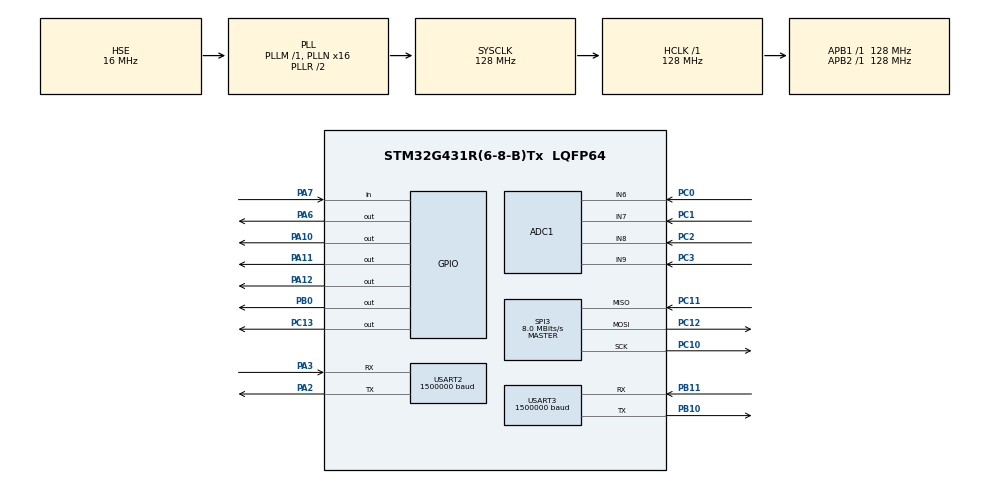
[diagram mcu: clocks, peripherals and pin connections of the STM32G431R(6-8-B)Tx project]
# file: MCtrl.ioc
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ADC1.Channel-1\#ChannelRegularConversion=ADC_CHANNEL_6
ADC1.ClockPrescaler=ADC_CLOCK_ASYNC_DIV8
ADC1.NbrOfConversionFlag=1
ADC1.OffsetNumber-1\#ChannelRegularConversion=ADC_OFFSET_NONE
ADC1.Rank-1\#ChannelRegularConversion=1
ADC1.SamplingTime-1\#ChannelRegularConversion=ADC_SAMPLETIME_2CYCLES_5
ADC1.master=1
FREERTOS.Tasks01=defaultTask,24,128,StartDefaultTask,Default,NULL,Dynamic,NULL,NULL;AdcValueGetTask,32,256,AdcValueGet,Default,NULL,Dynamic,NULL,NULL;dataTrans,16,128,dataTransTask,Default,NULL,Dynamic,NULL,NULL
FREERTOS.configENABLE_FPU=1
FREERTOS.configTOTAL_HEAP_SIZE=10240
FREERTOS.configUSE_NEWLIB_REENTRANT=1
Mcu.Family=STM32G4
Mcu.Name=STM32G431R(6-8-B)Tx
Mcu.Package=LQFP64
NVIC.PriorityGroup=NVIC_PRIORITYGROUP_4
NVIC.TIM1_UP_TIM16_IRQn=true\:15\:0\:false\:false\:true\:false\:false\:true\:true
NVIC.TimeBase=TIM1_UP_TIM16_IRQn
NVIC.TimeBaseIP=TIM1
PA10.Signal=GPIO_Output
PA11.Signal=GPIO_Output
PA12.Signal=GPIO_Output
PA13.Mode=Serial_Wire
PA13.Signal=SYS_JTMS-SWDIO
PA14.Mode=Serial_Wire
PA14.Signal=SYS_JTCK-SWCLK
PA2.Mode=Asynchronous
PA2.Signal=USART2_TX
PA3.Mode=Asynchronous
PA3.Signal=USART2_RX
PA6.Signal=GPIO_Output
PA7.Signal=GPIO_Input
PB0.Signal=GPIO_Output
PB10.Mode=Asynchronous
PB10.Signal=USART3_TX
PB11.Mode=Asynchronous
PB11.Signal=USART3_RX
PC0.Mode=IN6-Single-Ended
PC0.Signal=ADC1_IN6
PC1.Mode=IN7-Single-Ended
PC1.Signal=ADC1_IN7
PC10.Mode=Full_Duplex_Master
PC10.Signal=SPI3_SCK
PC11.Mode=Full_Duplex_Master
PC11.Signal=SPI3_MISO
PC12.Mode=Full_Duplex_Master
PC12.Signal=SPI3_MOSI
PC13.Signal=GPIO_Output
PC2.Mode=IN8-Single-Ended
PC2.Signal=ADC1_IN8
PC3.Mode=IN9-Single-Ended
PC3.Signal=ADC1_IN9
PF0-OSC_IN.Mode=HSE-External-Oscillator
PF0-OSC_IN.Signal=RCC_OSC_IN
PF1-OSC_OUT.Mode=HSE-External-Oscillator
PF1-OSC_OUT.Signal=RCC_OSC_OUT
ProjectManager.HeapSize=0x200
ProjectManager.StackSize=0x400
ProjectManager.TargetToolchain=STM32CubeIDE
RCC.ADC12Freq_Value=128000000
RCC.AHBFreq_Value=128000000
RCC.APB1Freq_Value=128000000
RCC.APB1TimFreq_Value=128000000
RCC.APB2Freq_Value=128000000
RCC.APB2TimFreq_Value=128000000
RCC.CortexFreq_Value=128000000
RCC.EXTERNAL_CLOCK_VALUE=12288000
RCC.HCLKFreq_Value=128000000
RCC.HSE_VALUE=16000000
RCC.HSI48_VALUE=48000000
RCC.HSI_VALUE=16000000
RCC.LSE_VALUE=32768
RCC.PLLN=16
RCC.PLLSourceVirtual=RCC_PLLSOURCE_HSE
RCC.SYSCLKFreq_VALUE=128000000
RCC.SYSCLKSource=RCC_SYSCLKSOURCE_PLLCLK
RCC.USBFreq_Value=128000000
RCC.VCOOutputFreq_Value=256000000
SPI3.BaudRatePrescaler=SPI_BAUDRATEPRESCALER_16
SPI3.CalculateBaudRate=8.0 MBits/s
SPI3.Direction=SPI_DIRECTION_2LINES
SPI3.Mode=SPI_MODE_MASTER
SPI3.VirtualType=VM_MASTER
USART2.BaudRate=1500000
USART2.VirtualMode-Asynchronous=VM_ASYNC
USART3.BaudRate=1500000
USART3.VirtualMode-Asynchronous=VM_ASYNC
VP_FREERTOS_VS_CMSIS_V2.Mode=CMSIS_V2
VP_SYS_VS_DBSignals.Mode=DisableDeadBatterySignals
VP_SYS_VS_tim1.Mode=TIM1
board=custom

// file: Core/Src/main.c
/* USER CODE BEGIN Header */
/**
  ******************************************************************************
  * @file           : main.c
  * @brief          : Main program body
  ******************************************************************************
  * @attention
  *
  * Copyright (c) 2025 STMicroelectronics.
  * All rights reserved.
  *
  * This software is licensed under terms that can be found in the LICENSE file
  * in the root directory of this software component.
  * If no LICENSE file comes with this software, it is provided AS-IS.
  *
  ******************************************************************************
  */
/* USER CODE END Header */
#include "main.h"
#include "cmsis_os.h"
#include "adc.h"
#include "spi.h"
#include "usart.h"
#include "gpio.h"

/* USER CODE BEGIN Includes */
#include "stdio.h"
#include "my1280app.h"
/* USER CODE END Includes */

/* USER CODE BEGIN PM */
int __io_putchar(int ch) {
    HAL_UART_Transmit(&huart2, (uint8_t*)&ch, 1, HAL_MAX_DELAY);
    return ch;
}

/* USER CODE END PM */

/* USER CODE BEGIN PV */
uint16_t adc_values[4];
/* USER CODE END PV */

void SystemClock_Config(void);
void MX_FREERTOS_Init(void);

int main(void)
{

  /* MCU Configuration--------------------------------------------------------*/

  /* Reset of all peripherals, Initializes the Flash interface and the Systick. */
  HAL_Init();

  /* Configure the system clock */
  SystemClock_Config();

  /* Initialize all configured peripherals */
  MX_GPIO_Init();
  MX_ADC1_Init();
  MX_USART2_UART_Init();
  MX_SPI3_Init();
  MX_USART3_UART_Init();
  /* USER CODE BEGIN 2 */
    printf("Mfly@2025 Author: LSC\r\n");
    printf("osKernelStart\r\n");
    printf("lora init begin\r\n");
    LoRa_init();
    printf("lora init success\r\n");
  /* USER CODE END 2 */

  /* Init scheduler */
  osKernelInitialize();  /* Call init function for freertos objects (in freertos.c) */
  MX_FREERTOS_Init();

  /* Start scheduler */
  osKernelStart();
  /* We should never get here as control is now taken by the scheduler */
  /* Infinite loop */
  /* USER CODE BEGIN WHILE */
  printf("Error! code enter wrong branch!\r\n");
  while (1)
  {
    /* USER CODE END WHILE */

  }
}

void SystemClock_Config(void)
{
  RCC_OscInitTypeDef RCC_OscInitStruct = {0};
  RCC_ClkInitTypeDef RCC_ClkInitStruct = {0};

  /** Configure the main internal regulator output voltage
  */
  HAL_PWREx_ControlVoltageScaling(PWR_REGULATOR_VOLTAGE_SCALE1);

  /** Initializes the RCC Oscillators according to the specified parameters
  * in the RCC_OscInitTypeDef structure.
  */
  RCC_OscInitStruct.OscillatorType = RCC_OSCILLATORTYPE_HSE;
  RCC_OscInitStruct.HSEState = RCC_HSE_ON;
  RCC_OscInitStruct.PLL.PLLState = RCC_PLL_ON;
  RCC_OscInitStruct.PLL.PLLSource = RCC_PLLSOURCE_HSE;
  RCC_OscInitStruct.PLL.PLLM = RCC_PLLM_DIV1;
  RCC_OscInitStruct.PLL.PLLN = 16;
  RCC_OscInitStruct.PLL.PLLP = RCC_PLLP_DIV2;
  RCC_OscInitStruct.PLL.PLLQ = RCC_PLLQ_DIV2;
  RCC_OscInitStruct.PLL.PLLR = RCC_PLLR_DIV2;
  if (HAL_RCC_OscConfig(&RCC_OscInitStruct) != HAL_OK)
  {
    Error_Handler();
  }

  /** Initializes the CPU, AHB and APB buses clocks
  */
  RCC_ClkInitStruct.ClockType = RCC_CLOCKTYPE_HCLK|RCC_CLOCKTYPE_SYSCLK
                              |RCC_CLOCKTYPE_PCLK1|RCC_CLOCKTYPE_PCLK2;
  RCC_ClkInitStruct.SYSCLKSource = RCC_SYSCLKSOURCE_PLLCLK;
  RCC_ClkInitStruct.AHBCLKDivider = RCC_SYSCLK_DIV1;
  RCC_ClkInitStruct.APB1CLKDivider = RCC_HCLK_DIV1;
  RCC_ClkInitStruct.APB2CLKDivider = RCC_HCLK_DIV1;

  if (HAL_RCC_ClockConfig(&RCC_ClkInitStruct, FLASH_LATENCY_4) != HAL_OK)
  {
    Error_Handler();
  }
}

void HAL_TIM_PeriodElapsedCallback(TIM_HandleTypeDef *htim)
{
  if (htim->Instance == TIM1) {
    HAL_IncTick();
  }
}

void Error_Handler(void)
{
  __disable_irq();
  while (1)
  {
  }
}

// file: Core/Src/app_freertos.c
/* USER CODE BEGIN Header */
/**
  ******************************************************************************
  * File Name          : app_freertos.c
  * Description        : Code for freertos applications
  ******************************************************************************
  * @attention
  *
  * Copyright (c) 2025 STMicroelectronics.
  * All rights reserved.
  *
  * This software is licensed under terms that can be found in the LICENSE file
  * in the root directory of this software component.
  * If no LICENSE file comes with this software, it is provided AS-IS.
  *
  ******************************************************************************
  */
/* USER CODE END Header */

#include "FreeRTOS.h"
#include "task.h"
#include "main.h"
#include "cmsis_os.h"

/* USER CODE BEGIN Includes */
#include "stdio.h"
/* USER CODE END Includes */

/* USER CODE BEGIN PTD */
extern ADC_HandleTypeDef hadc1;
extern UART_HandleTypeDef huart2;
extern UART_HandleTypeDef huart3;
float ctrl[4];
/* USER CODE END PTD */

/* Definitions for defaultTask */
osThreadId_t defaultTaskHandle;
const osThreadAttr_t defaultTask_attributes = {
  .name = "defaultTask",
  .priority = (osPriority_t) osPriorityNormal,
  .stack_size = 128 * 4
};
/* Definitions for AdcValueGetTask */
osThreadId_t AdcValueGetTaskHandle;
const osThreadAttr_t AdcValueGetTask_attributes = {
  .name = "AdcValueGetTask",
  .priority = (osPriority_t) osPriorityAboveNormal,
  .stack_size = 256 * 4
};
/* Definitions for dataTrans */
osThreadId_t dataTransHandle;
const osThreadAttr_t dataTrans_attributes = {
  .name = "dataTrans",
  .priority = (osPriority_t) osPriorityBelowNormal,
  .stack_size = 128 * 4
};

/* USER CODE BEGIN FunctionPrototypes */
uint16_t Read_ADC_Channel(uint32_t channel);
/* USER CODE END FunctionPrototypes */

void StartDefaultTask(void *argument);
void AdcValueGet(void *argument);
void dataTransTask(void *argument);

void MX_FREERTOS_Init(void); /* (MISRA C 2004 rule 8.1) */

void MX_FREERTOS_Init(void) {

  /* Create the thread(s) */
  /* creation of defaultTask */
  defaultTaskHandle = osThreadNew(StartDefaultTask, NULL, &defaultTask_attributes);

  /* creation of AdcValueGetTask */
  AdcValueGetTaskHandle = osThreadNew(AdcValueGet, NULL, &AdcValueGetTask_attributes);

  /* creation of dataTrans */
  dataTransHandle = osThreadNew(dataTransTask, NULL, &dataTrans_attributes);

}

void StartDefaultTask(void *argument)
{
  /* USER CODE BEGIN StartDefaultTask */
  /* Infinite loop */
  static uint8_t shine_led_state = 0;
  for(;;)
  {
      HAL_GPIO_WritePin(GPIOC, GPIO_PIN_13, shine_led_state);
      shine_led_state ^= 1;
      printf("enter default task\r\n");
      osDelay(1000);
  }
  /* USER CODE END StartDefaultTask */
}

void AdcValueGet(void *argument)
{
  /* USER CODE BEGIN AdcValueGet */
  /* Infinite loop */
    uint16_t adc_values[4];
    printf("enter getAdcValueTask\r\n");
    HAL_ADCEx_Calibration_Start(&hadc1, ADC_SINGLE_ENDED);
    for(;;)
    {
        adc_values[0] = Read_ADC_Channel(ADC_CHANNEL_6);  // IN6
        adc_values[1] = Read_ADC_Channel(ADC_CHANNEL_7);  // IN7
        adc_values[2] = Read_ADC_Channel(ADC_CHANNEL_8);  // IN8
        adc_values[3] = Read_ADC_Channel(ADC_CHANNEL_9);  // IN9

        ctrl[0] = (adc_values[0] - 1000) / (2700.0 - 1000.0) * 100.0;
        ctrl[1] = (adc_values[1] - 350)  / (3900.0 - 350.0)  * 100.0;
        ctrl[2] = (3800 - adc_values[2]) / (3800.0 - 280.0)  * 100.0;
        ctrl[3] = (3800 - adc_values[3]) / (3800.0 - 200.0)  * 100.0;

        printf("channel1: %.2f, channel2: %.2f, channel3: %.2f, channel4: %.2f\r\n",
               ctrl[0], ctrl[1], ctrl[2], ctrl[3]);
        osDelay(10);
    }
  /* USER CODE END AdcValueGet */
}

void dataTransTask(void *argument)
{
  /* USER CODE BEGIN dataTransTask */
  /* Infinite loop */
  for(;;)
  {
      HAL_UART_Transmit(&huart3, (uint8_t*)ctrl, sizeof(ctrl), HAL_MAX_DELAY);
    osDelay(100);
  }
  /* USER CODE END dataTransTask */
}

/* USER CODE BEGIN Application */

uint16_t Read_ADC_Channel(uint32_t channel) {
    ADC_ChannelConfTypeDef sConfig = {0};

    // 配置目标通道
    sConfig.Channel = channel;
    sConfig.Rank = ADC_REGULAR_RANK_1;       // 单通道固定为Rank1
    sConfig.SamplingTime = ADC_SAMPLETIME_24CYCLES_5;
    HAL_ADC_ConfigChannel(&hadc1, &sConfig); // 重新配置通道

    HAL_ADC_Start(&hadc1);                            // 启动转换
    HAL_ADC_PollForConversion(&hadc1, HAL_MAX_DELAY); // 阻塞等待转换完成
    return HAL_ADC_GetValue(&hadc1);                  // 返回转换结果
}

/* USER CODE END Application */
